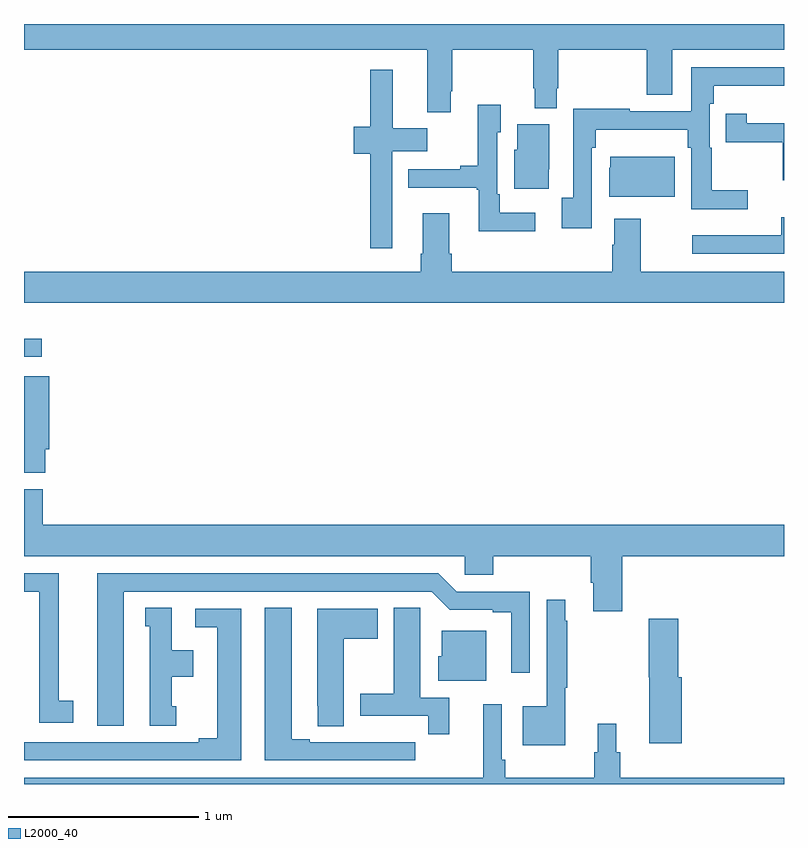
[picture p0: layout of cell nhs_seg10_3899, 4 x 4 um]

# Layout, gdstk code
import gdstk
lib = gdstk.Library(unit=1e-6, precision=1e-09)
def R(c, l, rs):  # rectangles x0, y0, x1, y1
    for r in rs: c.add(gdstk.rectangle(r[:2], r[2:], *l))
def P(c, l, *ps):  # polygons
    for p in ps: c.add(gdstk.Polygon(p, *l))
L2000_40 = (2000, 40)

nhs_seg10_3899 = lib.new_cell('nhs_seg10_3899')
R(nhs_seg10_3899, L2000_40, [(327,1250.748,327.094,1250.844)])
P(nhs_seg10_3899, L2000_40, [(327,1252.364),(329.123,1252.364),(329.123,1252.035),(329.245,1252.035),(329.245,1252.147),(329.253,1252.147),(329.253,1252.364),(329.68,1252.364),(329.68,1252.162),(329.687,1252.162),(329.687,1252.057),(329.803,1252.057),(329.803,1252.162),(329.811,1252.162),(329.811,1252.364),(330.277,1252.364),(330.277,1252.128),(330.412,1252.128),(330.412,1252.364),(331,1252.364),(331,1252.5),(327,1252.5)],
  [(329.988,1251.848),(330.008,1251.848),(330.008,1251.944),(330.493,1251.944),(330.493,1251.848),(330.513,1251.848),(330.513,1251.524),(330.808,1251.524),(330.808,1251.624),(330.619,1251.624),(330.619,1251.848),(330.609,1251.848),(330.609,1252.079),(330.629,1252.079),(330.629,1252.175),(331,1252.175),(331,1252.272),(330.513,1252.272),(330.513,1252.041),(330.188,1252.041),(330.188,1252.054),(329.892,1252.054),(329.892,1251.585),(329.829,1251.585),(329.829,1251.426),(329.988,1251.426)],
  [(328.939,1251.587),(328.938,1251.587),(328.938,1251.83),(329.123,1251.83),(329.123,1251.952),(328.94,1251.952),(328.94,1252.258),(328.822,1252.258),(328.822,1251.96),(328.736,1251.96),(328.736,1251.818),(328.822,1251.818),(328.822,1251.321),(328.939,1251.321)],
  [(329.692,1251.507),(329.503,1251.507),(329.503,1251.604),(329.49,1251.604),(329.49,1251.93),(329.509,1251.93),(329.509,1252.075),(329.389,1252.075),(329.389,1251.755),(329.297,1251.755),(329.297,1251.735),(329.023,1251.735),(329.023,1251.638),(329.382,1251.638),(329.382,1251.627),(329.393,1251.627),(329.393,1251.41),(329.692,1251.41)],
  [(331,1251.977),(330.805,1251.977),(330.805,1252.027),(330.694,1252.027),(330.694,1251.878),(330.993,1251.878),(330.993,1251.678),(331,1251.678)],
  [(329.763,1251.736),(329.764,1251.736),(329.764,1251.972),(329.597,1251.972),(329.597,1251.837),(329.579,1251.837),(329.579,1251.633),(329.763,1251.633)],
  [(330.424,1251.802),(330.086,1251.802),(330.086,1251.744),(330.08,1251.744),(330.08,1251.59),(330.424,1251.59)],
  [(331,1251.196),(330.247,1251.196),(330.247,1251.475),(330.107,1251.475),(330.107,1251.338),(330.095,1251.338),(330.095,1251.196),(329.252,1251.196),(329.252,1251.292),(329.239,1251.292),(329.239,1251.505),(329.099,1251.505),(329.099,1251.292),(329.087,1251.292),(329.087,1251.196),(327,1251.196),(327,1251.032),(331,1251.032)],
  [(331,1251.484),(330.985,1251.484),(330.985,1251.388),(330.516,1251.388),(330.516,1251.291),(331,1251.291)],
  [(327.113,1250.262),(327.134,1250.262),(327.134,1250.647),(327,1250.647),(327,1250.137),(327.113,1250.137)],
  [(330.149,1249.7),(331,1249.7),(331,1249.864),(327.098,1249.864),(327.098,1250.052),(327,1250.052),(327,1249.7),(329.319,1249.7),(329.319,1249.602),(329.471,1249.602),(329.471,1249.7),(329.984,1249.7),(329.984,1249.558),(329.996,1249.558),(329.996,1249.41),(330.149,1249.41)],
  [(327.526,1249.512),(329.145,1249.512),(329.241,1249.416),(329.468,1249.416),(329.468,1249.404),(329.564,1249.404),(329.564,1249.086),(329.661,1249.086),(329.661,1249.512),(329.277,1249.512),(329.181,1249.608),(327.386,1249.608),(327.386,1248.807),(327.526,1248.807)],
  [(327.259,1248.938),(327.184,1248.938),(327.184,1249.608),(327,1249.608),(327,1249.512),(327.08,1249.512),(327.08,1248.822),(327.259,1248.822)],
  [(329.848,1249.006),(329.86,1249.006),(329.86,1249.358),(329.848,1249.358),(329.848,1249.471),(329.751,1249.471),(329.751,1248.91),(329.624,1248.91),(329.624,1248.704),(329.848,1248.704)],
  [(329.059,1248.72),(328.946,1248.72),(328.946,1248.721),(328.78,1248.721),(328.78,1248.72),(328.504,1248.72),(328.504,1248.735),(328.408,1248.735),(328.408,1249.427),(328.268,1249.427),(328.268,1248.624),(329.059,1248.624)],
  [(329.237,1248.954),(329.086,1248.954),(329.086,1249.316),(329.085,1249.316),(329.085,1249.427),(328.946,1249.427),(328.946,1248.975),(328.769,1248.975),(328.769,1248.858),(329.128,1248.858),(329.128,1248.762),(329.237,1248.762)],
  [(327.802,1248.909),(327.778,1248.909),(327.778,1249.064),(327.892,1249.064),(327.892,1249.204),(327.778,1249.204),(327.778,1249.427),(327.638,1249.427),(327.638,1249.329),(327.662,1249.329),(327.662,1248.807),(327.802,1248.807)],
  [(328.684,1249.264),(328.861,1249.264),(328.861,1249.423),(328.544,1249.423),(328.544,1248.913),(328.545,1248.913),(328.545,1248.805),(328.684,1248.805)],
  [(328.144,1249.422),(327.9,1249.422),(327.9,1249.326),(328.016,1249.326),(328.016,1248.74),(327.92,1248.74),(327.92,1248.72),(327,1248.72),(327,1248.624),(328.144,1248.624)],
  [(330.461,1249.062),(330.443,1249.062),(330.443,1249.369),(330.289,1249.369),(330.289,1249.062),(330.29,1249.062),(330.29,1248.714),(330.461,1248.714)],
  [(329.434,1249.306),(329.198,1249.306),(329.198,1249.173),(329.18,1249.173),(329.18,1249.043),(329.434,1249.043)],
  [(331,1248.532),(330.137,1248.532),(330.137,1248.666),(330.118,1248.666),(330.118,1248.817),(330.02,1248.817),(330.02,1248.666),(330.001,1248.666),(330.001,1248.532),(329.534,1248.532),(329.534,1248.628),(329.514,1248.628),(329.514,1248.919),(329.417,1248.919),(329.417,1248.532),(327,1248.532),(327,1248.5),(331,1248.5)])

lib.write_gds('nhs_seg10_3899.gds')
